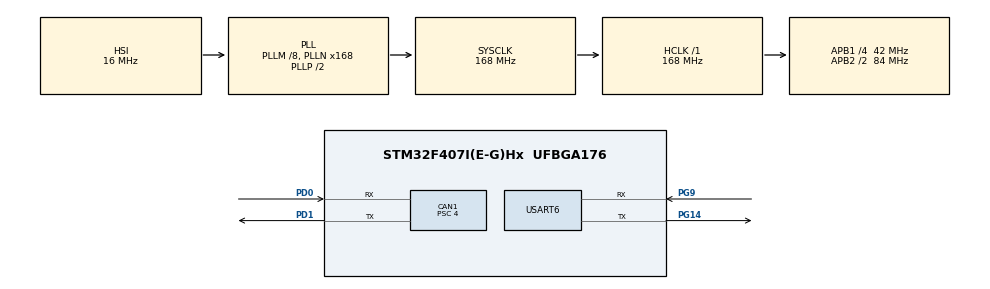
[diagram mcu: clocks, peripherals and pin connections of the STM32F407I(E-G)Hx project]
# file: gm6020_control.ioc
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CAN1.BS1=CAN_BS1_16TQ
CAN1.BS2=CAN_BS2_4TQ
CAN1.CalculateBaudRate=500000
CAN1.CalculateTimeBit=2000
CAN1.CalculateTimeQuantum=95.23809523809524
CAN1.NART=ENABLE
CAN1.Prescaler=4
CAN1.SJW=CAN_SJW_4TQ
CAN1.TXFP=DISABLE
FREERTOS.Tasks01=defaultTask,24,128,StartDefaultTask,Default,NULL,Dynamic,NULL,NULL;gm6020_control,16,512,GM6020_ControlTask,Default,NULL,Dynamic,NULL,NULL;cmd_task,16,256,GM6020_CmdTask,Default,NULL,Dynamic,NULL,NULL
Mcu.Family=STM32F4
Mcu.Name=STM32F407I(E-G)Hx
Mcu.Package=UFBGA176
NVIC.CAN1_RX0_IRQn=true\:5\:0\:false\:false\:true\:true\:true\:true\:true
NVIC.CAN1_SCE_IRQn=true\:5\:0\:false\:false\:true\:true\:true\:true\:true
NVIC.PriorityGroup=NVIC_PRIORITYGROUP_4
NVIC.USART6_IRQn=true\:5\:0\:false\:false\:true\:true\:true\:true\:true
PA13.Mode=Serial_Wire
PA13.Signal=SYS_JTMS-SWDIO
PA14.Mode=Serial_Wire
PA14.Signal=SYS_JTCK-SWCLK
PA9.Signal=USART1_TX
PB7.Signal=USART1_RX
PD0.Mode=CAN_Activate
PD0.Signal=CAN1_RX
PD1.Mode=CAN_Activate
PD1.Signal=CAN1_TX
PG14.Mode=Asynchronous
PG14.Signal=USART6_TX
PG9.Mode=Asynchronous
PG9.Signal=USART6_RX
ProjectManager.HeapSize=0x200
ProjectManager.StackSize=0x400
ProjectManager.TargetToolchain=STM32CubeIDE
RCC.48MHZClocksFreq_Value=84000000
RCC.AHBFreq_Value=168000000
RCC.APB1CLKDivider=RCC_HCLK_DIV4
RCC.APB1Freq_Value=42000000
RCC.APB1TimFreq_Value=84000000
RCC.APB2CLKDivider=RCC_HCLK_DIV2
RCC.APB2Freq_Value=84000000
RCC.APB2TimFreq_Value=168000000
RCC.CortexFreq_Value=168000000
RCC.HCLKFreq_Value=168000000
RCC.HSE_VALUE=25000000
RCC.HSI_VALUE=16000000
RCC.LSE_VALUE=32768
RCC.PLLM=8
RCC.PLLN=168
RCC.SYSCLKFreq_VALUE=168000000
RCC.SYSCLKSource=RCC_SYSCLKSOURCE_PLLCLK
RCC.VCOOutputFreq_Value=336000000
USART6.VirtualMode=VM_ASYNC
VP_FREERTOS_VS_CMSIS_V2.Mode=CMSIS_V2
board=custom

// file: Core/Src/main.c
/* USER CODE BEGIN Header */
/**
  ******************************************************************************
  * @file           : main.c
  * @brief          : Main program body
  ******************************************************************************
  * @attention
  *
  * Copyright (c) 2026 STMicroelectronics.
  * All rights reserved.
  *
  * This software is licensed under terms that can be found in the LICENSE file
  * in the root directory of this software component.
  * If no LICENSE file comes with this software, it is provided AS-IS.
  *
  ******************************************************************************
  */
/* USER CODE END Header */
#include "main.h"
#include "cmsis_os.h"

/* USER CODE BEGIN Includes */
#include "gm6020_task.h"

/* USER CODE END Includes */

CAN_HandleTypeDef hcan1;

UART_HandleTypeDef huart6;

/* Definitions for defaultTask */
osThreadId_t defaultTaskHandle;
const osThreadAttr_t defaultTask_attributes = {
  .name = "defaultTask",
  .stack_size = 128 * 4,
  .priority = (osPriority_t) osPriorityNormal,
};
/* Definitions for gm6020_control */
osThreadId_t gm6020_controlHandle;
const osThreadAttr_t gm6020_control_attributes = {
  .name = "gm6020_control",
  .stack_size = 512 * 4,
  .priority = (osPriority_t) osPriorityBelowNormal,
};
/* Definitions for cmd_task */
osThreadId_t cmd_taskHandle;
const osThreadAttr_t cmd_task_attributes = {
  .name = "cmd_task",
  .stack_size = 256 * 4,
  .priority = (osPriority_t) osPriorityBelowNormal,
};

void SystemClock_Config(void);
static void MX_GPIO_Init(void);
static void MX_CAN1_Init(void);
static void MX_USART6_UART_Init(void);
void StartDefaultTask(void *argument);
void GM6020_ControlTask(void *argument);
void GM6020_CmdTask(void *argument);

int main(void)
{

  /* MCU Configuration--------------------------------------------------------*/

  /* Reset of all peripherals, Initializes the Flash interface and the Systick. */
  HAL_Init();

  /* Configure the system clock */
  SystemClock_Config();

  /* Initialize all configured peripherals */
  MX_GPIO_Init();
  MX_CAN1_Init();
  MX_USART6_UART_Init();
  /* USER CODE BEGIN 2 */
  /* 手动确认 CAN 的自动重传开启 */
  CLEAR_BIT(CAN1->MCR, CAN_MCR_NART);

  /* 配置 CAN 滤波器 - 接收所有标准帧到 FIFO0 */
  CAN_FilterTypeDef can_filter = {0};
  can_filter.FilterBank = 0;
  can_filter.FilterMode = CAN_FILTERMODE_IDMASK;
  can_filter.FilterScale = CAN_FILTERSCALE_32BIT;
  can_filter.FilterIdHigh = 0x0000;
  can_filter.FilterIdLow = 0x0000;
  can_filter.FilterMaskIdHigh = 0x0000;
  can_filter.FilterMaskIdLow = 0x0000;
  can_filter.FilterFIFOAssignment = CAN_RX_FIFO0;
  can_filter.FilterActivation = ENABLE;
  HAL_CAN_ConfigFilter(&hcan1, &can_filter);

  /* 启动 CAN */
  HAL_CAN_Start(&hcan1);
  HAL_CAN_ActivateNotification(&hcan1, CAN_IT_RX_FIFO0_MSG_PENDING);
  /* USER CODE END 2 */

  /* Init scheduler */
  osKernelInitialize();

  /* Create the thread(s) */
  /* creation of defaultTask */
  defaultTaskHandle = osThreadNew(StartDefaultTask, NULL, &defaultTask_attributes);

  /* creation of gm6020_control */
  gm6020_controlHandle = osThreadNew(GM6020_ControlTask, NULL, &gm6020_control_attributes);

  /* creation of cmd_task */
  cmd_taskHandle = osThreadNew(GM6020_CmdTask, NULL, &cmd_task_attributes);

  /* Start scheduler */
  osKernelStart();

  /* We should never get here as control is now taken by the scheduler */

  /* Infinite loop */
  while (1)
  {

  }
}

void SystemClock_Config(void)
{
  RCC_OscInitTypeDef RCC_OscInitStruct = {0};
  RCC_ClkInitTypeDef RCC_ClkInitStruct = {0};

  /** Configure the main internal regulator output voltage
  */
  __HAL_RCC_PWR_CLK_ENABLE();
  __HAL_PWR_VOLTAGESCALING_CONFIG(PWR_REGULATOR_VOLTAGE_SCALE1);

  /** Initializes the RCC Oscillators according to the specified parameters
  * in the RCC_OscInitTypeDef structure.
  */
  RCC_OscInitStruct.OscillatorType = RCC_OSCILLATORTYPE_HSI;
  RCC_OscInitStruct.HSIState = RCC_HSI_ON;
  RCC_OscInitStruct.HSICalibrationValue = RCC_HSICALIBRATION_DEFAULT;
  RCC_OscInitStruct.PLL.PLLState = RCC_PLL_ON;
  RCC_OscInitStruct.PLL.PLLSource = RCC_PLLSOURCE_HSI;
  RCC_OscInitStruct.PLL.PLLM = 8;
  RCC_OscInitStruct.PLL.PLLN = 168;
  RCC_OscInitStruct.PLL.PLLP = RCC_PLLP_DIV2;
  RCC_OscInitStruct.PLL.PLLQ = 4;
  if (HAL_RCC_OscConfig(&RCC_OscInitStruct) != HAL_OK)
  {
    Error_Handler();
  }

  /** Initializes the CPU, AHB and APB buses clocks
  */
  RCC_ClkInitStruct.ClockType = RCC_CLOCKTYPE_HCLK|RCC_CLOCKTYPE_SYSCLK
                              |RCC_CLOCKTYPE_PCLK1|RCC_CLOCKTYPE_PCLK2;
  RCC_ClkInitStruct.SYSCLKSource = RCC_SYSCLKSOURCE_PLLCLK;
  RCC_ClkInitStruct.AHBCLKDivider = RCC_SYSCLK_DIV1;
  RCC_ClkInitStruct.APB1CLKDivider = RCC_HCLK_DIV4;
  RCC_ClkInitStruct.APB2CLKDivider = RCC_HCLK_DIV2;

  if (HAL_RCC_ClockConfig(&RCC_ClkInitStruct, FLASH_LATENCY_5) != HAL_OK)
  {
    Error_Handler();
  }
}

static void MX_CAN1_Init(void)
{

  hcan1.Instance = CAN1;
  hcan1.Init.Prescaler = 2;
  hcan1.Init.Mode = CAN_MODE_NORMAL;
  hcan1.Init.SyncJumpWidth = CAN_SJW_4TQ;
  hcan1.Init.TimeSeg1 = CAN_BS1_16TQ;
  hcan1.Init.TimeSeg2 = CAN_BS2_4TQ;
  hcan1.Init.TimeTriggeredMode = DISABLE;
  hcan1.Init.AutoBusOff = DISABLE;
  hcan1.Init.AutoWakeUp = DISABLE;
  hcan1.Init.AutoRetransmission = ENABLE;
  hcan1.Init.ReceiveFifoLocked = DISABLE;
  hcan1.Init.TransmitFifoPriority = DISABLE;
  if (HAL_CAN_Init(&hcan1) != HAL_OK)
  {
    Error_Handler();
  }

}

static void MX_USART6_UART_Init(void)
{

  huart6.Instance = USART6;
  huart6.Init.BaudRate = 115200;
  huart6.Init.WordLength = UART_WORDLENGTH_8B;
  huart6.Init.StopBits = UART_STOPBITS_1;
  huart6.Init.Parity = UART_PARITY_NONE;
  huart6.Init.Mode = UART_MODE_TX_RX;
  huart6.Init.HwFlowCtl = UART_HWCONTROL_NONE;
  huart6.Init.OverSampling = UART_OVERSAMPLING_16;
  if (HAL_UART_Init(&huart6) != HAL_OK)
  {
    Error_Handler();
  }

}

static void MX_GPIO_Init(void)
{
  GPIO_InitTypeDef GPIO_InitStruct = {0};

  /* GPIO Ports Clock Enable */
  __HAL_RCC_GPIOG_CLK_ENABLE();
  __HAL_RCC_GPIOA_CLK_ENABLE();
  __HAL_RCC_GPIOB_CLK_ENABLE();
  __HAL_RCC_GPIOD_CLK_ENABLE();

  /*Configure GPIO pin : PB7 */
  GPIO_InitStruct.Pin = GPIO_PIN_7;
  GPIO_InitStruct.Mode = GPIO_MODE_AF_PP;
  GPIO_InitStruct.Pull = GPIO_NOPULL;
  GPIO_InitStruct.Speed = GPIO_SPEED_FREQ_VERY_HIGH;
  GPIO_InitStruct.Alternate = GPIO_AF7_USART1;
  HAL_GPIO_Init(GPIOB, &GPIO_InitStruct);

  /*Configure GPIO pin : PA9 */
  GPIO_InitStruct.Pin = GPIO_PIN_9;
  GPIO_InitStruct.Mode = GPIO_MODE_AF_PP;
  GPIO_InitStruct.Pull = GPIO_NOPULL;
  GPIO_InitStruct.Speed = GPIO_SPEED_FREQ_VERY_HIGH;
  GPIO_InitStruct.Alternate = GPIO_AF7_USART1;
  HAL_GPIO_Init(GPIOA, &GPIO_InitStruct);

}

void StartDefaultTask(void *argument)
{
  for(;;)
  {
    osDelay(1);
  }
}

void Error_Handler(void)
{
  __disable_irq();
  while (1)
  {
  }
}
